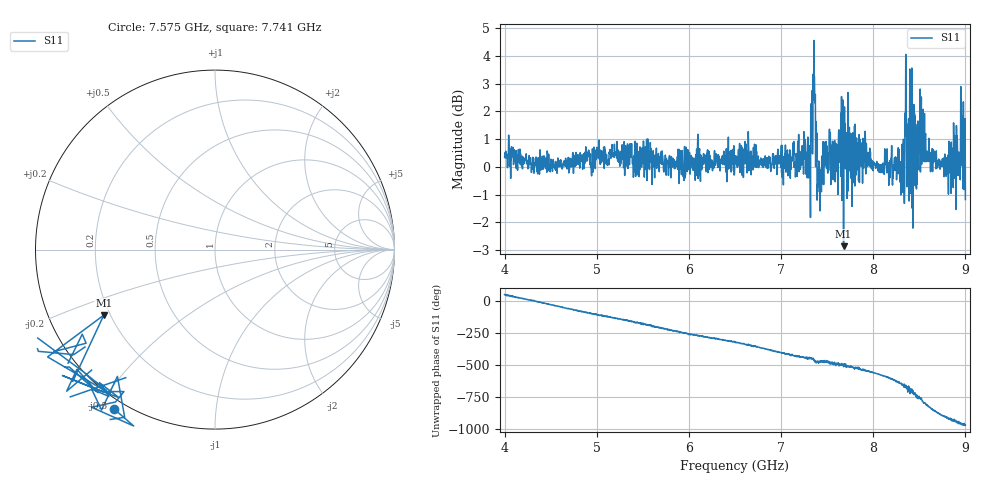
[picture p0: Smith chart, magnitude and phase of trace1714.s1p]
! Created with skrf 1.8.0 (http://scikit-rf.org).
# Hz S RI R 50.0
!freq ReS11 ImS11
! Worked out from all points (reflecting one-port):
!   1601 points, 4 GHz to 9 GHz, reference 50 ohm
!   lowest |S11| = -2.9 dB at 7.678 GHz (marker M1), VSWR 6.13, Z = 8.75 - j13.2 ohm
!   phase of S11 starts at 54 deg and turns -1020 deg over the sweep
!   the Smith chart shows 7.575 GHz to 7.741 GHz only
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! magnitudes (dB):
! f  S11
! 4 GHz  0.3
! 4.625 GHz  -0.1
! 5.25 GHz  0.0
! 5.875 GHz  0.4
! 6.5 GHz  0.3
! 7.125 GHz  0.5
! 7.294 GHz  0.3
! 7.319 GHz  -1.8
! 7.347 GHz  3.3
! 7.362 GHz  3.3
! 7.4 GHz  -0.7
! 7.416 GHz  -0.9
! 7.509 GHz  -0.2
! 7.591 GHz  0.1
! 7.647 GHz  -0.3
! 7.678 GHz  -2.9
! 7.75 GHz  -0.1
! 8.253 GHz  -0.5
! 8.316 GHz  0.1
! 8.334 GHz  -0.9
! 8.375 GHz  1.4
! 8.447 GHz  1.9
! 8.522 GHz  2.5
! 8.606 GHz  0.3
! 8.716 GHz  0.1
! 8.919 GHz  -0.3
! 8.972 GHz  -0.1
! 9 GHz  -1.2
